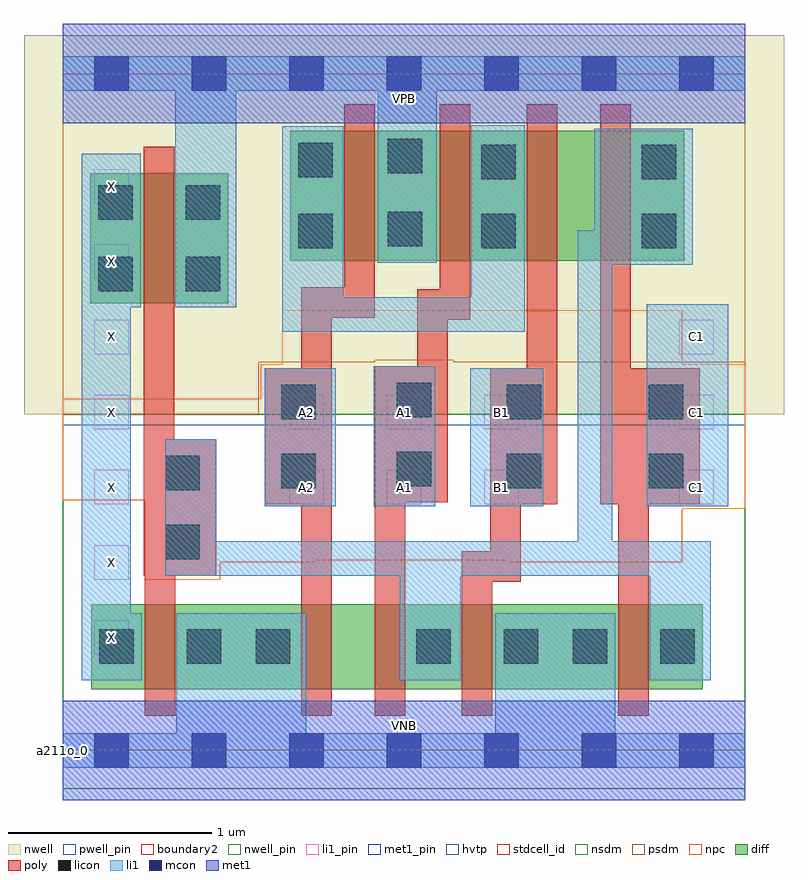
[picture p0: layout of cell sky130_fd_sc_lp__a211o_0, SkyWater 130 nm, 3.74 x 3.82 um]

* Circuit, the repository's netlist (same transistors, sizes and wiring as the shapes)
* Copyright 2020 The SkyWater PDK Authors
*
* Licensed under the Apache License, Version 2.0 (the "License");
* you may not use this file except in compliance with the License.
* You may obtain a copy of the License at
*
*     https://www.apache.org/licenses/LICENSE-2.0
*
* Unless required by applicable law or agreed to in writing, software
* distributed under the License is distributed on an "AS IS" BASIS,
* WITHOUT WARRANTIES OR CONDITIONS OF ANY KIND, either express or implied.
* See the License for the specific language governing permissions and
* limitations under the License.
*
* SPDX-License-Identifier: Apache-2.0

.SUBCKT sky130_fd_sc_lp__a211o_0 A1 A2 B1 C1 VGND VNB VPB VPWR X
*.PININFO A1:I A2:I B1:I C1:I VGND:I VNB:I VPB:I VPWR:I X:O
MMPA0 pndA A1 VPWR VPB sky130_fd_pr__pfet_01v8_hvt m=1 w=0.64U l=0.15U mult=1 sa=0.265
+ sb=0.265 sd=0.28 area=0.063 perim=1.14
MMPA1 pndA A2 VPWR VPB sky130_fd_pr__pfet_01v8_hvt m=1 w=0.64U l=0.15U mult=1 sa=0.265
+ sb=0.265 sd=0.28 area=0.063 perim=1.14
MMPB0 pndB B1 pndA VPB sky130_fd_pr__pfet_01v8_hvt m=1 w=0.64U l=0.15U mult=1 sa=0.265
+ sb=0.265 sd=0.28 area=0.063 perim=1.14
MMPC0 y C1 pndB VPB sky130_fd_pr__pfet_01v8_hvt m=1 w=0.64U l=0.15U mult=1 sa=0.265
+ sb=0.265 sd=0.28 area=0.063 perim=1.14
MMIPX X y VPWR VPB sky130_fd_pr__pfet_01v8_hvt m=1 w=0.64U l=0.15U mult=1 sa=0.265
+ sb=0.265 sd=0.28 area=0.063 perim=1.14
MMNA0 y A1 sndA1 VNB sky130_fd_pr__nfet_01v8 m=1 w=0.42U l=0.15U mult=1 sa=0.265
+ sb=0.265 sd=0.28 area=0.063 perim=1.14
MMNA1 sndA1 A2 VGND VNB sky130_fd_pr__nfet_01v8 m=1 w=0.42U l=0.15U mult=1 sa=0.265
+ sb=0.265 sd=0.28 area=0.063 perim=1.14
MMNB0 y B1 VGND VNB sky130_fd_pr__nfet_01v8 m=1 w=0.42U l=0.15U mult=1 sa=0.265
+ sb=0.265 sd=0.28 area=0.063 perim=1.14
MMNC0 y C1 VGND VNB sky130_fd_pr__nfet_01v8 m=1 w=0.42U l=0.15U mult=1 sa=0.265
+ sb=0.265 sd=0.28 area=0.063 perim=1.14
MMINX X y VGND VNB sky130_fd_pr__nfet_01v8 m=1 w=0.42U l=0.15U mult=1 sa=0.265
+ sb=0.265 sd=0.28 area=0.063 perim=1.14
.ENDS sky130_fd_sc_lp__a211o_0

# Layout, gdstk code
import gdstk
lib = gdstk.Library(unit=1e-6, precision=1e-09)
def R(c, l, rs):  # rectangles x0, y0, x1, y1
    for r in rs: c.add(gdstk.rectangle(r[:2], r[2:], *l))
def A(c, l, x, y, w, h, nx, ny, dx, dy):  # array of equal rectangles
    R(c, l, [(x+i*dx, y+j*dy, x+i*dx+w, y+j*dy+h) for i in range(nx) for j in range(ny)])
def P(c, l, *ps):  # polygons
    for p in ps: c.add(gdstk.Polygon(p, *l))
nwell_pin = (64, 16)
nwell = (64, 20)
diff = (65, 20)
poly = (66, 20)
licon = (66, 44)
li1_pin = (67, 16)
li1 = (67, 20)
mcon = (67, 44)
met1_pin = (68, 16)
met1 = (68, 20)
hvtp = (78, 44)
stdcell_id = (81, 4)
nsdm = (93, 44)
psdm = (94, 20)
npc = (95, 20)
pwell_pin = (122, 16)
boundary2 = (236, 0)

sky130_fd_sc_lp__a211o_0 = lib.new_cell('sky130_fd_sc_lp__a211o_0')
R(sky130_fd_sc_lp__a211o_0, nwell_pin, [(0,3.085,3.36,3.33)])
R(sky130_fd_sc_lp__a211o_0, nwell, [(-0.19,1.655,3.55,3.52)])
R(sky130_fd_sc_lp__a211o_0, diff, [(0.14,0.3,3.15,0.72), (0.135,2.2,0.815,2.84), (1.12,2.41,3.06,3.05)])
P(sky130_fd_sc_lp__a211o_0, poly, [(0.755,1.53),(0.55,1.53),(0.55,2.97),(0.4,2.97),(0.4,0.86),(0.405,0.86),(0.405,0.17),(0.555,0.17),(0.555,0.86),(0.755,0.86)],
  [(1.535,3.18),(1.385,3.18),(1.385,2.28),(1.175,2.28),(1.175,1.88),(0.995,1.88),(0.995,1.21),(1.175,1.21),(1.175,0.17),(1.325,0.17),(1.325,2.13),(1.535,2.13)],
  [(2.005,3.18),(1.855,3.18),(1.855,2.27),(1.745,2.27),(1.745,1.89),(1.535,1.89),(1.535,0.17),(1.685,0.17),(1.685,1.22),(1.895,1.22),(1.895,2.12),(2.005,2.12)],
  [(2.435,3.18),(2.285,3.18),(2.285,1.88),(2.105,1.88),(2.105,0.98),(1.965,0.98),(1.965,0.17),(2.115,0.17),(2.115,0.83),(2.255,0.83),(2.255,1.21),(2.435,1.21)],
  [(3.135,1.88),(2.795,1.88),(2.795,3.18),(2.645,3.18),(2.645,1.21),(2.735,1.21),(2.735,0.17),(2.885,0.17),(2.885,1.21),(3.135,1.21)])
R(sky130_fd_sc_lp__a211o_0, licon, [(0.18,0.425,0.35,0.595), (0.61,0.425,0.78,0.595), (0.95,0.425,1.12,0.595), (1.74,0.425,1.91,0.595), (2.17,0.425,2.34,0.595), (2.51,0.425,2.68,0.595), (2.94,0.425,3.11,0.595), (0.505,0.94,0.675,1.11), (0.505,1.28,0.675,1.45), (1.075,1.29,1.245,1.46), (2.185,1.29,2.355,1.46), (2.885,1.29,3.055,1.46), (1.645,1.3,1.815,1.47), (1.075,1.63,1.245,1.8), (2.185,1.63,2.355,1.8), (2.885,1.63,3.055,1.8), (1.645,1.64,1.815,1.81), (0.175,2.26,0.345,2.43), (0.605,2.26,0.775,2.43), (1.16,2.47,1.33,2.64), (2.06,2.47,2.23,2.64), (2.85,2.47,3.02,2.64), (1.6,2.48,1.77,2.65), (0.175,2.61,0.345,2.78), (0.605,2.61,0.775,2.78), (2.06,2.81,2.23,2.98), (2.85,2.81,3.02,2.98), (1.16,2.82,1.33,2.99), (1.6,2.84,1.77,3.01)])
A(sky130_fd_sc_lp__a211o_0, li1_pin, 0.155, 0.47, 0.17, 0.17, 1, 7, 0, 0.37)
A(sky130_fd_sc_lp__a211o_0, li1_pin, 1.115, 1.21, 0.17, 0.17, 3, 2, 0.48, 0.37)
A(sky130_fd_sc_lp__a211o_0, li1_pin, 3.035, 1.21, 0.17, 0.17, 1, 3, 0, 0.37)
R(sky130_fd_sc_lp__a211o_0, li1, [(0.995,1.2,1.345,1.88), (1.53,1.2,1.835,1.89), (2.005,1.2,2.365,1.88), (2.875,1.2,3.275,2.195)])
P(sky130_fd_sc_lp__a211o_0, li1, [(0.39,0.675),(0.335,0.675),(0.335,2.18),(0.385,2.18),(0.385,2.935),(0.095,2.935),(0.095,0.345),(0.39,0.345)],
  [(3.19,1.03),(2.705,1.03),(2.705,2.39),(3.1,2.39),(3.1,3.06),(2.615,3.06),(2.615,2.56),(2.535,2.56),(2.535,1.03),(0.755,1.03),(0.755,1.53),(0.505,1.53),(0.505,0.86),(1.66,0.86),(1.66,0.345),(1.96,0.345),(1.96,0.86),(2.89,0.86),(2.89,0.345),(3.19,0.345)],
  [(3.36,3.415),(0,3.415),(0,3.245),(0.555,3.245),(0.555,2.18),(0.855,2.18),(0.855,3.245),(1.55,3.245),(1.55,2.4),(1.84,2.4),(1.84,3.245),(3.36,3.245)],
  [(3.36,0.085),(2.72,0.085),(2.72,0.675),(2.13,0.675),(2.13,0.085),(1.2,0.085),(1.2,0.675),(0.56,0.675),(0.56,0.085),(0,0.085),(0,-0.085),(3.36,-0.085)],
  [(2.275,3.075),(2.01,3.075),(2.01,2.23),(1.38,2.23),(1.38,3.07),(1.08,3.07),(1.08,2.06),(2.275,2.06)])
A(sky130_fd_sc_lp__a211o_0, mcon, 0.155, -0.085, 0.17, 0.17, 7, 2, 0.48, 3.33)
R(sky130_fd_sc_lp__a211o_0, met1_pin, [(0,0,3.36,0.245), (0,3.085,3.36,3.33)])
R(sky130_fd_sc_lp__a211o_0, met1, [(0,-0.245,3.36,0.245), (0,3.085,3.36,3.575)])
R(sky130_fd_sc_lp__a211o_0, hvtp, [(0,1.6,3.36,3.33)])
R(sky130_fd_sc_lp__a211o_0, stdcell_id, [(0,0,3.36,3.33)])
R(sky130_fd_sc_lp__a211o_0, nsdm, [(0,-0.19,3.36,1.655)])
P(sky130_fd_sc_lp__a211o_0, psdm, [(3.36,3.52),(0,3.52),(0,1.655),(0.965,1.655),(0.965,1.91),(1.535,1.91),(1.535,1.92),(1.925,1.92),(1.925,1.91),(3.36,1.91)])
P(sky130_fd_sc_lp__a211o_0, npc, [(3.36,1.9),(3.05,1.9),(3.05,2.165),(1.08,2.165),(1.08,1.9),(0.975,1.9),(0.975,1.73),(0,1.73),(0,1.23),(0.405,1.23),(0.405,0.84),(0.775,0.84),(0.775,0.925),(1.24,0.925),(1.24,0.935),(2.19,0.935),(2.19,0.925),(3.05,0.925),(3.05,1.19),(3.36,1.19)])
R(sky130_fd_sc_lp__a211o_0, pwell_pin, [(0,0,3.36,0.245)])
R(sky130_fd_sc_lp__a211o_0, boundary2, [(0,0,3.36,3.33)])
sky130_fd_sc_lp__a211o_0.add(gdstk.Label('VNB', (1.68,0.123), layer=64, texttype=59))
sky130_fd_sc_lp__a211o_0.add(gdstk.Label('VPB', (1.68,3.208), layer=64, texttype=5))
sky130_fd_sc_lp__a211o_0.add(gdstk.Label('a211o_0', (0,0), layer=83, texttype=44))
sky130_fd_sc_lp__a211o_0.add(gdstk.Label('VPWR', (1.68,3.208), layer=68, texttype=5))
sky130_fd_sc_lp__a211o_0.add(gdstk.Label('VGND', (1.68,0.123), layer=68, texttype=5))
sky130_fd_sc_lp__a211o_0.add(gdstk.Label('A1', (1.68,1.295), layer=67, texttype=5))
sky130_fd_sc_lp__a211o_0.add(gdstk.Label('A1', (1.68,1.665), layer=67, texttype=5))
sky130_fd_sc_lp__a211o_0.add(gdstk.Label('A2', (1.2,1.295), layer=67, texttype=5))
sky130_fd_sc_lp__a211o_0.add(gdstk.Label('A2', (1.2,1.665), layer=67, texttype=5))
sky130_fd_sc_lp__a211o_0.add(gdstk.Label('B1', (2.16,1.295), layer=67, texttype=5))
sky130_fd_sc_lp__a211o_0.add(gdstk.Label('B1', (2.16,1.665), layer=67, texttype=5))
sky130_fd_sc_lp__a211o_0.add(gdstk.Label('C1', (3.12,1.295), layer=67, texttype=5))
sky130_fd_sc_lp__a211o_0.add(gdstk.Label('C1', (3.12,1.665), layer=67, texttype=5))
sky130_fd_sc_lp__a211o_0.add(gdstk.Label('C1', (3.12,2.035), layer=67, texttype=5))
sky130_fd_sc_lp__a211o_0.add(gdstk.Label('X', (0.24,0.555), layer=67, texttype=5))
sky130_fd_sc_lp__a211o_0.add(gdstk.Label('X', (0.24,0.925), layer=67, texttype=5))
sky130_fd_sc_lp__a211o_0.add(gdstk.Label('X', (0.24,1.295), layer=67, texttype=5))
sky130_fd_sc_lp__a211o_0.add(gdstk.Label('X', (0.24,1.665), layer=67, texttype=5))
sky130_fd_sc_lp__a211o_0.add(gdstk.Label('X', (0.24,2.035), layer=67, texttype=5))
sky130_fd_sc_lp__a211o_0.add(gdstk.Label('X', (0.24,2.405), layer=67, texttype=5))
sky130_fd_sc_lp__a211o_0.add(gdstk.Label('X', (0.24,2.775), layer=67, texttype=5))

lib.write_gds('sky130_fd_sc_lp__a211o_0.gds')
